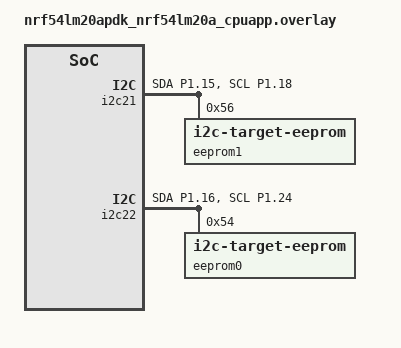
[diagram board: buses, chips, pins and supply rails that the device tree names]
/*
 * SDA = P1.15 and P1.16
 * SCL = P1.18 and P1.24
 */

&pinctrl {
	i2c21_default: i2c21_default {
		group1 {
			psels = <NRF_PSEL(TWIS_SDA, 1, 15)>,
				<NRF_PSEL(TWIS_SCL, 1, 18)>;
			bias-pull-up;
		};
	};

	i2c21_sleep: i2c21_sleep {
		group1 {
			psels = <NRF_PSEL(TWIS_SDA, 1, 15)>,
				<NRF_PSEL(TWIS_SCL, 1, 18)>;
			low-power-enable;
		};
	};

	i2c22_default: i2c22_default {
		group1 {
			psels = <NRF_PSEL(TWIS_SDA, 1, 16)>,
				<NRF_PSEL(TWIS_SCL, 1, 24)>;
			bias-pull-up;
		};
	};

	i2c22_sleep: i2c22_sleep {
		group1 {
			psels = <NRF_PSEL(TWIS_SDA, 1, 16)>,
				<NRF_PSEL(TWIS_SCL, 1, 24)>;
			low-power-enable;
		};
	};
};

&i2c21 {
	pinctrl-0 = <&i2c21_default>;
	pinctrl-1 = <&i2c21_sleep>;
	pinctrl-names = "default", "sleep";
	zephyr,concat-buf-size = <256>;
	status = "okay";

	eeprom1: eeprom@56 {
		compatible = "zephyr,i2c-target-eeprom";
		reg = <0x56>;
		address-width = <8>;
		size = <256>;
	};
};

&i2c22 {
	compatible = "nordic,nrf-twis";
	pinctrl-0 = <&i2c22_default>;
	pinctrl-1 = <&i2c22_sleep>;
	pinctrl-names = "default", "sleep";
	status = "okay";

	eeprom0: eeprom@54 {
		compatible = "zephyr,i2c-target-eeprom";
		reg = <0x54>;
		address-width = <8>;
		size = <256>;
	};
};
